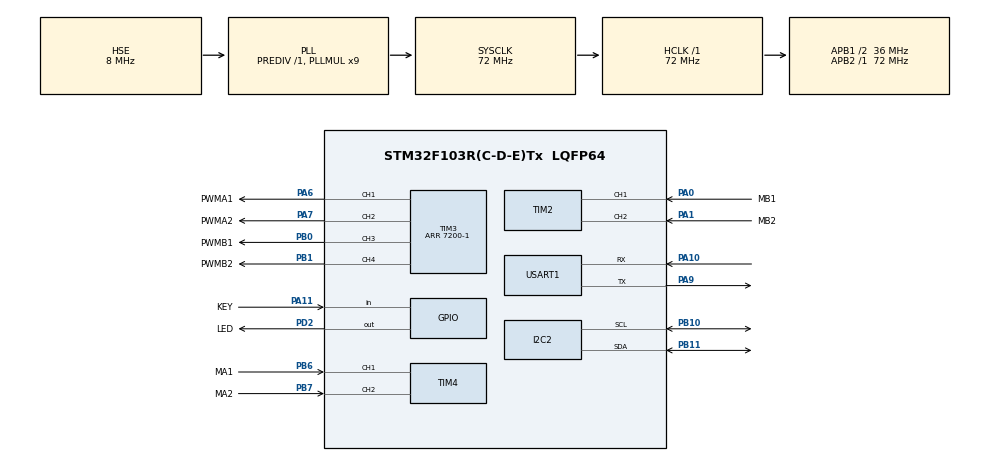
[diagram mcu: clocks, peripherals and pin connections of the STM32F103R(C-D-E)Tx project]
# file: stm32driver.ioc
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Dma.Request0=USART1_RX
Dma.Request1=USART1_TX
Dma.USART1_RX.0.Direction=DMA_PERIPH_TO_MEMORY
Dma.USART1_RX.0.Instance=DMA1_Channel5
Dma.USART1_RX.0.MemDataAlignment=DMA_MDATAALIGN_BYTE
Dma.USART1_RX.0.MemInc=DMA_MINC_ENABLE
Dma.USART1_RX.0.Mode=DMA_NORMAL
Dma.USART1_RX.0.PeriphDataAlignment=DMA_PDATAALIGN_BYTE
Dma.USART1_RX.0.PeriphInc=DMA_PINC_DISABLE
Dma.USART1_RX.0.Priority=DMA_PRIORITY_LOW
Dma.USART1_TX.1.Direction=DMA_MEMORY_TO_PERIPH
Dma.USART1_TX.1.Instance=DMA1_Channel4
Dma.USART1_TX.1.MemDataAlignment=DMA_MDATAALIGN_BYTE
Dma.USART1_TX.1.MemInc=DMA_MINC_ENABLE
Dma.USART1_TX.1.Mode=DMA_NORMAL
Dma.USART1_TX.1.PeriphDataAlignment=DMA_PDATAALIGN_BYTE
Dma.USART1_TX.1.PeriphInc=DMA_PINC_DISABLE
Dma.USART1_TX.1.Priority=DMA_PRIORITY_LOW
FREERTOS.Tasks01=defaultTask,24,128,StartDefaultTask,Default,NULL,Dynamic,NULL,NULL;myTaskMotor,8,128,StartTaskMotor,Default,NULL,Dynamic,NULL,NULL;myTaskDisplay,8,128,StartTaskDisplay,Default,NULL,Dynamic,NULL,NULL;myTaskUsart,8,128,StartTaskUsart,Default,NULL,Dynamic,NULL,NULL
Mcu.Family=STM32F1
Mcu.Name=STM32F103R(C-D-E)Tx
Mcu.Package=LQFP64
NVIC.DMA1_Channel4_IRQn=true\:0\:0\:false\:false\:true\:true\:false\:true
NVIC.DMA1_Channel5_IRQn=true\:0\:0\:false\:false\:true\:true\:false\:true
NVIC.PriorityGroup=NVIC_PRIORITYGROUP_4
NVIC.TIM1_UP_IRQn=true\:0\:0\:false\:false\:true\:false\:false\:true
NVIC.TimeBase=TIM1_UP_IRQn
NVIC.TimeBaseIP=TIM1
NVIC.USART1_IRQn=true\:0\:0\:false\:false\:true\:true\:true\:true
PA0-WKUP.GPIO_Label=MB1
PA0-WKUP.Signal=S_TIM2_CH1_ETR
PA1.GPIO_Label=MB2
PA1.Signal=S_TIM2_CH2
PA10.Mode=Asynchronous
PA10.Signal=USART1_RX
PA11.GPIO_Label=KEY
PA11.Signal=GPIO_Input
PA13.Mode=Serial_Wire
PA13.Signal=SYS_JTMS-SWDIO
PA14.Mode=Serial_Wire
PA14.Signal=SYS_JTCK-SWCLK
PA6.GPIO_Label=PWMA1
PA6.Signal=S_TIM3_CH1
PA7.GPIO_Label=PWMA2
PA7.Signal=S_TIM3_CH2
PA9.Mode=Asynchronous
PA9.Signal=USART1_TX
PB0.GPIO_Label=PWMB1
PB0.Signal=S_TIM3_CH3
PB1.GPIO_Label=PWMB2
PB1.Signal=S_TIM3_CH4
PB10.Mode=I2C
PB10.Signal=I2C2_SCL
PB11.Mode=I2C
PB11.Signal=I2C2_SDA
PB6.GPIO_Label=MA1
PB6.Signal=S_TIM4_CH1
PB7.GPIO_Label=MA2
PB7.Signal=S_TIM4_CH2
PD0-OSC_IN.Mode=HSE-External-Oscillator
PD0-OSC_IN.Signal=RCC_OSC_IN
PD1-OSC_OUT.Mode=HSE-External-Oscillator
PD1-OSC_OUT.Signal=RCC_OSC_OUT
PD2.GPIO_Label=LED
PD2.Signal=GPIO_Output
ProjectManager.HeapSize=0x200
ProjectManager.StackSize=0x400
ProjectManager.TargetToolchain=SW4STM32
RCC.AHBFreq_Value=72000000
RCC.APB1CLKDivider=RCC_HCLK_DIV2
RCC.APB1Freq_Value=36000000
RCC.APB1TimFreq_Value=72000000
RCC.APB2Freq_Value=72000000
RCC.APB2TimFreq_Value=72000000
RCC.HCLKFreq_Value=72000000
RCC.PLLMUL=RCC_PLL_MUL9
RCC.PLLSourceVirtual=RCC_PLLSOURCE_HSE
RCC.SYSCLKFreq_VALUE=72000000
RCC.SYSCLKSource=RCC_SYSCLKSOURCE_PLLCLK
RCC.USBFreq_Value=72000000
SH.S_TIM2_CH1_ETR.0=TIM2_CH1,Encoder_Interface
SH.S_TIM2_CH2.0=TIM2_CH2,Encoder_Interface
SH.S_TIM3_CH1.0=TIM3_CH1,PWM Generation1 CH1
SH.S_TIM3_CH2.0=TIM3_CH2,PWM Generation2 CH2
SH.S_TIM3_CH3.0=TIM3_CH3,PWM Generation3 CH3
SH.S_TIM3_CH4.0=TIM3_CH4,PWM Generation4 CH4
SH.S_TIM4_CH1.0=TIM4_CH1,Encoder_Interface
SH.S_TIM4_CH2.0=TIM4_CH2,Encoder_Interface
TIM2.EncoderMode=TIM_ENCODERMODE_TI12
TIM3.Channel-PWM\ Generation1\ CH1=TIM_CHANNEL_1
TIM3.Channel-PWM\ Generation2\ CH2=TIM_CHANNEL_2
TIM3.Channel-PWM\ Generation3\ CH3=TIM_CHANNEL_3
TIM3.Channel-PWM\ Generation4\ CH4=TIM_CHANNEL_4
TIM3.Period=7200-1
TIM4.EncoderMode=TIM_ENCODERMODE_TI12
USART1.VirtualMode=VM_ASYNC
VP_FREERTOS_VS_CMSIS_V2.Mode=CMSIS_V2
VP_SYS_VS_tim1.Mode=TIM1
board=custom

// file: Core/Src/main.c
/* USER CODE BEGIN Header */
/**
  ******************************************************************************
  * @file           : main.c
  * @brief          : Main program body
  ******************************************************************************
  * @attention
  *
  * <h2><center>&copy; Copyright (c) 2021 STMicroelectronics.
  * All rights reserved.</center></h2>
  *
  * This software component is licensed by ST under BSD 3-Clause license,
  * the "License"; You may not use this file except in compliance with the
  * License. You may obtain a copy of the License at:
  *                        opensource.org/licenses/BSD-3-Clause
  *
  ******************************************************************************
  */
/* USER CODE END Header */
#include "main.h"
#include "cmsis_os.h"
#include "dma.h"
#include "i2c.h"
#include "tim.h"
#include "usart.h"
#include "gpio.h"

/* USER CODE BEGIN Includes */
#include "User/oled.h"

/* USER CODE END Includes */

void SystemClock_Config(void);
void MX_FREERTOS_Init(void);

/* USER CODE BEGIN 0 */
void OLED_flash_format(){
  OLED_ShowString(1, 0, (uint8_t *)"A-ENC", 8);
  OLED_ShowString(1, 1, (uint8_t *)"A-ADD", 8);
  OLED_ShowString(1, 2, (uint8_t *)"A-TGT", 8);
  OLED_ShowString(1, 3, (uint8_t *)"A-PWM", 8);
  OLED_ShowString(1, 4, (uint8_t *)"B-ENC", 8);
  OLED_ShowString(1, 5, (uint8_t *)"B-ADD", 8);
  OLED_ShowString(1, 6, (uint8_t *)"B-TGT", 8);
  OLED_ShowString(1, 7, (uint8_t *)"B-PWM", 8);
}
/* USER CODE END 0 */

int main(void)
{

  /* MCU Configuration--------------------------------------------------------*/

  /* Reset of all peripherals, Initializes the Flash interface and the Systick. */
  HAL_Init();

  /* Configure the system clock */
  SystemClock_Config();

  /* Initialize all configured peripherals */
  MX_GPIO_Init();
  MX_DMA_Init();
  MX_TIM2_Init();
  MX_TIM3_Init();
  MX_TIM4_Init();
  MX_I2C2_Init();
  MX_USART1_UART_Init();
  /* USER CODE BEGIN 2 */
  HAL_GPIO_WritePin(LED_GPIO_Port, LED_Pin, GPIO_PIN_SET);
  // Start Display
  OLED_Init();
  OLED_preFlash();
  OLED_flash_format();

  // Start TIM
  HAL_TIM_Encoder_Start(&htim2, TIM_CHANNEL_1|TIM_CHANNEL_2);
  HAL_TIM_Encoder_Start(&htim4, TIM_CHANNEL_1|TIM_CHANNEL_2);
  HAL_TIM_PWM_Start(&htim3,TIM_CHANNEL_1);
  HAL_TIM_PWM_Start(&htim3,TIM_CHANNEL_2);
  HAL_TIM_PWM_Start(&htim3,TIM_CHANNEL_3);
  HAL_TIM_PWM_Start(&htim3,TIM_CHANNEL_4);

  // Start usart3
  __HAL_UART_ENABLE_IT(&huart1, UART_IT_IDLE);
  HAL_UART_Receive_DMA(&huart1, rx_buffer, BUFFER_SIZE);

  HAL_GPIO_WritePin(LED_GPIO_Port, LED_Pin, GPIO_PIN_RESET);

  /* USER CODE END 2 */

  /* Init scheduler */
  osKernelInitialize();  /* Call init function for freertos objects (in freertos.c) */
  MX_FREERTOS_Init();
  /* Start scheduler */
  osKernelStart();

  /* We should never get here as control is now taken by the scheduler */
  /* Infinite loop */
  while (1)
  {

  }
}

void SystemClock_Config(void)
{
  RCC_OscInitTypeDef RCC_OscInitStruct = {0};
  RCC_ClkInitTypeDef RCC_ClkInitStruct = {0};

  /** Initializes the RCC Oscillators according to the specified parameters
  * in the RCC_OscInitTypeDef structure.
  */
  RCC_OscInitStruct.OscillatorType = RCC_OSCILLATORTYPE_HSE;
  RCC_OscInitStruct.HSEState = RCC_HSE_ON;
  RCC_OscInitStruct.HSEPredivValue = RCC_HSE_PREDIV_DIV1;
  RCC_OscInitStruct.HSIState = RCC_HSI_ON;
  RCC_OscInitStruct.PLL.PLLState = RCC_PLL_ON;
  RCC_OscInitStruct.PLL.PLLSource = RCC_PLLSOURCE_HSE;
  RCC_OscInitStruct.PLL.PLLMUL = RCC_PLL_MUL9;
  if (HAL_RCC_OscConfig(&RCC_OscInitStruct) != HAL_OK)
  {
    Error_Handler();
  }
  /** Initializes the CPU, AHB and APB buses clocks
  */
  RCC_ClkInitStruct.ClockType = RCC_CLOCKTYPE_HCLK|RCC_CLOCKTYPE_SYSCLK
                              |RCC_CLOCKTYPE_PCLK1|RCC_CLOCKTYPE_PCLK2;
  RCC_ClkInitStruct.SYSCLKSource = RCC_SYSCLKSOURCE_PLLCLK;
  RCC_ClkInitStruct.AHBCLKDivider = RCC_SYSCLK_DIV1;
  RCC_ClkInitStruct.APB1CLKDivider = RCC_HCLK_DIV2;
  RCC_ClkInitStruct.APB2CLKDivider = RCC_HCLK_DIV1;

  if (HAL_RCC_ClockConfig(&RCC_ClkInitStruct, FLASH_LATENCY_2) != HAL_OK)
  {
    Error_Handler();
  }
}

void HAL_TIM_PeriodElapsedCallback(TIM_HandleTypeDef *htim)
{
  if (htim->Instance == TIM1) {
    HAL_IncTick();
  }
}

void Error_Handler(void)
{
}

/************************ (C) COPYRIGHT STMicroelectronics *****END OF FILE****/

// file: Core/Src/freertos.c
/* USER CODE BEGIN Header */
/**
  ******************************************************************************
  * File Name          : freertos.c
  * Description        : Code for freertos applications
  ******************************************************************************
  * @attention
  *
  * <h2><center>&copy; Copyright (c) 2021 STMicroelectronics.
  * All rights reserved.</center></h2>
  *
  * This software component is licensed by ST under Ultimate Liberty license
  * SLA0044, the "License"; You may not use this file except in compliance with
  * the License. You may obtain a copy of the License at:
  *                             www.st.com/SLA0044
  *
  ******************************************************************************
  */
/* USER CODE END Header */

#include "FreeRTOS.h"
#include "task.h"
#include "main.h"
#include "cmsis_os.h"

/* USER CODE BEGIN Includes */
#include "User/motor.h"
#include "User/oled.h"
#include "usart.h"

/* USER CODE END Includes */

/* USER CODE BEGIN Variables */
uint16_t usartCnt = 0;
uint16_t beforeCnt = 0;
uint8_t checkTime = 0;

/* USER CODE END Variables */
/* Definitions for defaultTask */
osThreadId_t defaultTaskHandle;
const osThreadAttr_t defaultTask_attributes = {
  .name = "defaultTask",
  .priority = (osPriority_t) osPriorityNormal,
  .stack_size = 128 * 4
};
/* Definitions for myTaskMotor */
osThreadId_t myTaskMotorHandle;
const osThreadAttr_t myTaskMotor_attributes = {
  .name = "myTaskMotor",
  .priority = (osPriority_t) osPriorityLow,
  .stack_size = 128 * 4
};
/* Definitions for myTaskDisplay */
osThreadId_t myTaskDisplayHandle;
const osThreadAttr_t myTaskDisplay_attributes = {
  .name = "myTaskDisplay",
  .priority = (osPriority_t) osPriorityLow,
  .stack_size = 128 * 4
};
/* Definitions for myTaskUsart */
osThreadId_t myTaskUsartHandle;
const osThreadAttr_t myTaskUsart_attributes = {
  .name = "myTaskUsart",
  .priority = (osPriority_t) osPriorityLow,
  .stack_size = 128 * 4
};

/* USER CODE BEGIN FunctionPrototypes */
// TaskMotor======================================================================
motorInfoType motorInfo[2];
void para_init(){
  for(uint8_t i=0; i<2; i++){
    motorInfo[i].ENC = 0;
    motorInfo[i].PWM = 0;
    motorInfo[i].ADD = 0;
    motorInfo[i].TGT = 0;
  }
}
void check_timeout(){
  if(checkTime++ == 25){
    checkTime = 0;
    if(beforeCnt == usartCnt){
      motorInfo[0].TGT = 0;
      motorInfo[1].TGT = 0;
    } else{
      beforeCnt = usartCnt;
    }
  }
}
// TaskDisplay======================================================================
void show_info(int data, uint8_t x, uint8_t y){
  static uint8_t str[6];
  static uint8_t len;

  len = 6;
  for(uint8_t i=0; i<len; i++){
    str[i] = '0';
  }
  if(data >= 0){
    str[0] = '+';
  }else{
    str[0] = '-';
    data = -data;
  }
  str[--len] = '\0';
  while(data){
    str[--len] = data % 10 + '0';
    data /= 10;
  }

  OLED_ShowString(x, y, str, 8);
}
void OLED_flash_data(){
  show_info(motorInfo[0].ENC, 1+8*6, 0);
  show_info(motorInfo[0].ADD, 1+8*6, 1);
  show_info(motorInfo[0].TGT, 1+8*6, 2);
  show_info(motorInfo[0].PWM, 1+8*6, 3);
  show_info(motorInfo[1].ENC, 1+8*6, 4);
  show_info(motorInfo[1].ADD, 1+8*6, 5);
  show_info(motorInfo[1].TGT, 1+8*6, 6);
  show_info(motorInfo[1].PWM, 1+8*6, 7);
}
// TaskUsart======================================================================
void user_API(uint8_t temp[], uint8_t temp_len){
  if(temp[0]=='[' && temp[3]==']'){
    motorInfo[0].TGT = 128-temp[1];
    motorInfo[1].TGT = temp[2]-128;
    if(usartCnt++ == 60000) usartCnt=0;
  }

  DMA_Usart_Send(rx_buffer, rx_len);
}
void Usart_Handle()     //USART2对接收的�???????帧数据进行处�???????
{
  user_API(rx_buffer, rx_len);

  rx_len = 0;//清除计数
  rec_end_flag = 0;//清除接收结束标志�???????
  memset(rx_buffer, 0, rx_len);
  HAL_UART_Receive_DMA(&huart1, rx_buffer, BUFFER_SIZE);//重新打开DMA接收
}
/* USER CODE END FunctionPrototypes */

void StartDefaultTask(void *argument);
void StartTaskMotor(void *argument);
void StartTaskDisplay(void *argument);
void StartTaskUsart(void *argument);

void MX_FREERTOS_Init(void); /* (MISRA C 2004 rule 8.1) */

void MX_FREERTOS_Init(void) {

  /* Create the thread(s) */
  /* creation of defaultTask */
  defaultTaskHandle = osThreadNew(StartDefaultTask, NULL, &defaultTask_attributes);

  /* creation of myTaskMotor */
  myTaskMotorHandle = osThreadNew(StartTaskMotor, NULL, &myTaskMotor_attributes);

  /* creation of myTaskDisplay */
  myTaskDisplayHandle = osThreadNew(StartTaskDisplay, NULL, &myTaskDisplay_attributes);

  /* creation of myTaskUsart */
  myTaskUsartHandle = osThreadNew(StartTaskUsart, NULL, &myTaskUsart_attributes);

}

void StartDefaultTask(void *argument)
{
  for(;;)
  {
    osDelay(1);
  }
}

void StartTaskMotor(void *argument)
{
  /* USER CODE BEGIN StartTaskMotor */
  para_init();
  /* Infinite loop */
  for(;;)
  {
//    check_timeout();
//    motorInfo[0].TGT = -10;
    check_ENC(&motorInfo[0], &motorInfo[1]);
//    plus_ADD(&motorInfo[0], &motorInfo[1]);
    incremental_PI_A(&motorInfo[0]);
    incremental_PI_B(&motorInfo[1]);
    range_PWM(&motorInfo[0], &motorInfo[1], 7000);
    if(motorInfo[0].TGT==0) motorInfo[0].PWM = 0;
    if(motorInfo[1].TGT==0) motorInfo[1].PWM = 0;
    set_PWM(&motorInfo[0], &motorInfo[1]);
    osDelay(10);
  }
  /* USER CODE END StartTaskMotor */
}

void StartTaskDisplay(void *argument)
{
  /* USER CODE BEGIN StartTaskDisplay */
  /* Infinite loop */
  for(;;)
  {
    OLED_flash_data();
    osDelay(50);
  }
  /* USER CODE END StartTaskDisplay */
}

void StartTaskUsart(void *argument)
{
  /* USER CODE BEGIN StartTaskUsart */
  /* Infinite loop */
  for(;;)
  {
    if(rec_end_flag)  //判断是否接收�????????1帧数�????????
    {
      HAL_GPIO_TogglePin(LED_GPIO_Port, LED_Pin);
      Usart_Handle();
    }
    osDelay(1);
  }
  /* USER CODE END StartTaskUsart */
}

/************************ (C) COPYRIGHT STMicroelectronics *****END OF FILE****/
